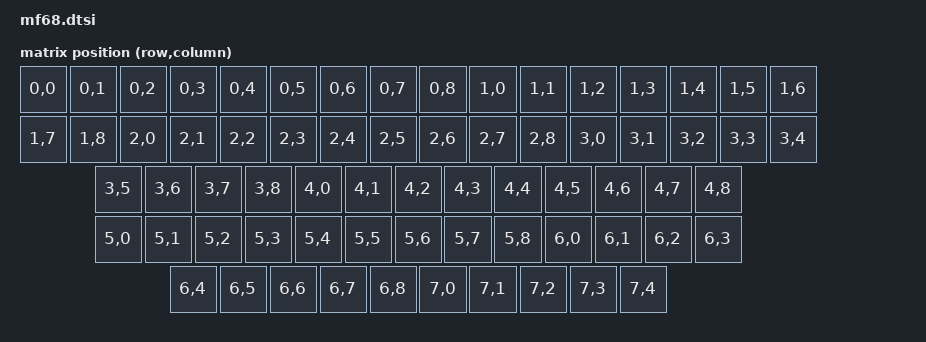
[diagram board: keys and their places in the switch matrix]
/*
 * Copyright (c) 2021 The ZMK Contributors
 *
 * SPDX-License-Identifier: MIT
 */

#include <dt-bindings/zmk/matrix_transform.h>

/ {
	chosen {
		zmk,kscan = &kscan0;
		zmk,matrix_transform = &default_transform;
	};

	kscan0: kscan {
		compatible = "zmk,kscan-gpio-matrix";
		label = "KSCAN";
		diode-direction = "col2row";
	};

	default_transform: keymap_transform_0 {
		compatible = "zmk,matrix-transform";
		columns = <9>;
		rows = <8>;

// | MX1  | MX2  | MX3  | MX4  | MX5  | MX6  | MX7  | MX8  | MX9  | MX10 | MX11 | MX12 | MX13 |    MX14     | MX15 | MX16 |
// |   MX17   | MX18 | MX19 | MX20 | MX21 | MX22 | MX23 | MX24 | MX25 | MX26 | MX27 | MX28 | MX29 |  MX30   | MX31 | MX32 |
// |    MX33    | MX34 | MX35 | MX36 | MX37 | MX38 | MX39 | MX40 | MX41 | MX42 | MX43 | MX44 |     MX45     |
// |     MX46      | MX47 | MX48 | MX49 | MX50 | MX51 | MX52 | MX53 | MX54 | MX55 | MX56 |       MX57       | MX58 |
// |  MX59  |  MX60  |  MX61  |                    MX62                   |  MX63  |  MX64  |  MX65  | MX66 | MX67 | MX68 |

        map = <
RC(0,0)  RC(0,1) RC(0,2) RC(0,3) RC(0,4) RC(0,5) RC(0,6) RC(0,7) RC(0,8) RC(1,0) RC(1,1) RC(1,2) RC(1,3)     RC(1,4) RC(1,5) RC(1,6)
RC(1,7)    RC(1,8) RC(2,0) RC(2,1) RC(2,2) RC(2,3) RC(2,4) RC(2,5) RC(2,6) RC(2,7) RC(2,8) RC(3,0) RC(3,1)   RC(3,2) RC(3,3) RC(3,4)
RC(3,5)     RC(3,6) RC(3,7) RC(3,8) RC(4,0) RC(4,1) RC(4,2) RC(4,3) RC(4,4) RC(4,5) RC(4,6) RC(4,7)          RC(4,8)
RC(5,0)       RC(5,1) RC(5,2) RC(5,3) RC(5,4) RC(5,5) RC(5,6) RC(5,7) RC(5,8) RC(6,0) RC(6,1)                RC(6,2) RC(6,3)
RC(6,4)    RC(6,5)   RC(6,6)                     RC(6,7)                    RC(6,8)    RC(7,0)    RC(7,1)    RC(7,2) RC(7,3) RC(7,4)
        >;
	};
};

